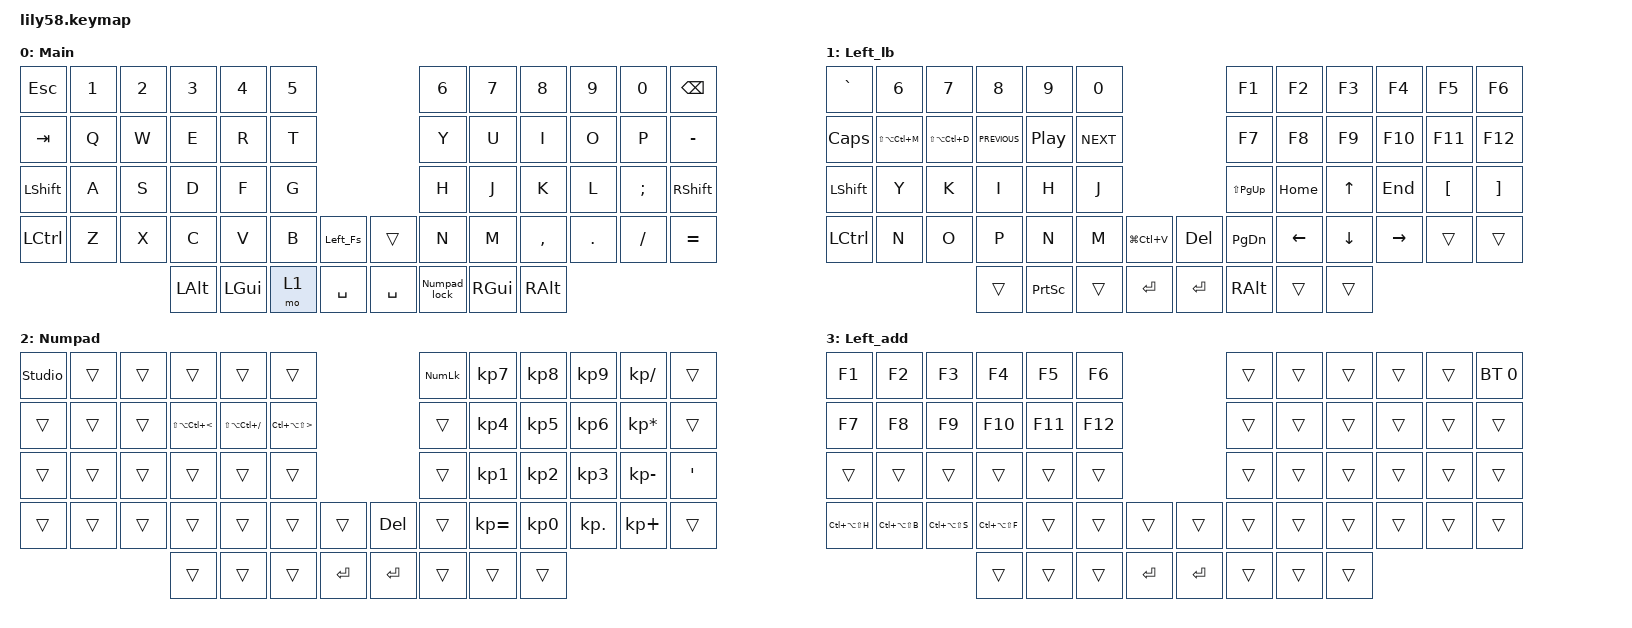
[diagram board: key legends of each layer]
/*
 * Copyright (c) 2020 The ZMK Contributors
 *
 * SPDX-License-Identifier: MIT
 */

#include <behaviors.dtsi>
#include <dt-bindings/zmk/bt.h>
#include <dt-bindings/zmk/keys.h>

/ {
    behaviors {
        Numpad_lock: Numpad_lock {
            compatible = "zmk,behavior-tap-dance";
            label = "NUMPAD_LOCK";
            #binding-cells = <0>;
            bindings = <&mo 2>, <&tog 2>;
        };

        Left_Fs: Left_Fs {
            compatible = "zmk,behavior-tap-dance";
            label = "LEFT_FS";
            #binding-cells = <0>;
            bindings = <&kp DEL>, <&tog 3>;
        };
    };

    combos {
        compatible = "zmk,combos";

        Left_br {
            bindings = <&kp LEFT_BRACKET>;
            key-positions = <21 22>;
            require-prior-idle-ms = <50>;
        };

        Right_br {
            bindings = <&kp RIGHT_BRACKET>;
            key-positions = <22 23>;
            require-prior-idle-ms = <50>;
        };

        Sqt {
            bindings = <&kp SQT>;
            key-positions = <33 34>;
            require-prior-idle-ms = <50>;
        };

        Grave {
            bindings = <&kp GRAVE>;
            key-positions = <17 16>;
            require-prior-idle-ms = <50>;
        };

        Slash {
            bindings = <&kp KP_DIVIDE>;
            key-positions = <48 49>;
            require-prior-idle-ms = <50>;
        };

        Backslash {
            bindings = <&kp BACKSLASH>;
            key-positions = <48 47>;
            require-prior-idle-ms = <50>;
        };
    };

    keymap {
        compatible = "zmk,keymap";

        Main {
            display-name = "Main";
            bindings = <
&kp ESC         &kp N1  &kp N2  &kp N3    &kp N4    &kp N5                          &kp N6        &kp N7    &kp N8     &kp N9   &kp N0    &kp BSPC
&kp TAB         &kp Q   &kp W   &kp E     &kp R     &kp T                           &kp Y         &kp U     &kp I      &kp O    &kp P     &kp MINUS
&kp LEFT_SHIFT  &kp A   &kp S   &kp D     &kp F     &kp G                           &kp H         &kp J     &kp K      &kp L    &kp SEMI  &kp RSHFT
&kp LCTRL       &kp Z   &kp X   &kp C     &kp V     &kp B   &Left_Fs     &trans     &kp N         &kp M     &kp COMMA  &kp DOT  &kp FSLH  &kp EQUAL
                                &kp LALT  &kp LGUI  &mo 1   &kp SPACE    &kp SPACE  &Numpad_lock  &kp RGUI  &kp RALT
            >;
        };

        Left_lb {
            display-name = "Left_lb";
            bindings = <
&kp GRAVE  &kp NUMBER_6       &kp NUMBER_7       &kp NUMBER_8    &kp NUMBER_9      &kp NUMBER_0                               &kp F1           &kp F2          &kp F3          &kp F4           &kp F5    &kp F6
&kp CAPS   &kp LS(LA(LC(M)))  &kp LS(LA(LC(D)))  &kp C_PREVIOUS  &kp C_PLAY_PAUSE  &kp C_NEXT                                 &kp F7           &kp F8          &kp F9          &kp F10          &kp F11   &kp F12
&kp LSHFT  &kp Y              &kp K              &kp I           &kp H             &kp J                                      &kp LS(PAGE_UP)  &kp HOME        &kp UP_ARROW    &kp END          &kp LBKT  &kp RBKT
&kp LCTRL  &kp N              &kp O              &kp P           &kp N             &kp M         &kp LG(LC(V))    &kp DELETE  &kp PAGE_DOWN    &kp LEFT_ARROW  &kp DOWN_ARROW  &kp RIGHT_ARROW  &trans    &trans
                                                 &trans          &kp PRINTSCREEN   &trans        &kp RET          &kp ENTER   &kp RIGHT_ALT    &trans          &trans
            >;
        };

        Numpad {
            display-name = "Numpad";
            bindings = <
&studio_unlock  &trans  &trans  &trans                     &trans                 &trans                                                 &kp KP_NUMLOCK  &kp KP_NUMBER_7  &kp KP_NUMBER_8  &kp KP_NUMBER_9  &kp KP_DIVIDE    &trans
&trans          &trans  &trans  &kp LS(LA(LC(LESS_THAN)))  &kp LS(LA(LC(SLASH)))  &kp LC(LA(LS(GREATER_THAN)))                           &trans          &kp KP_NUMBER_4  &kp KP_NUMBER_5  &kp KP_NUMBER_6  &kp KP_MULTIPLY  &trans
&trans          &trans  &trans  &trans                     &trans                 &trans                                                 &trans          &kp KP_NUMBER_1  &kp KP_NUMBER_2  &kp KP_NUMBER_3  &kp KP_SUBTRACT  &kp SINGLE_QUOTE
&trans          &trans  &trans  &trans                     &trans                 &trans                        &trans       &kp DELETE  &trans          &kp KP_EQUAL     &kp KP_NUMBER_0  &kp KP_DOT       &kp KP_PLUS      &trans
                                &trans                     &trans                 &trans                        &kp ENTER    &kp RET     &trans          &trans           &trans
            >;
        };

        Left_add {
            display-name = "Left_add";
            bindings = <
&kp F1             &kp F2             &kp F3             &kp F4             &kp F5   &kp F6                         &trans  &trans  &trans  &trans  &trans  &bt BT_SEL 0
&kp F7             &kp F8             &kp F9             &kp F10            &kp F11  &kp F12                        &trans  &trans  &trans  &trans  &trans  &trans
&trans             &trans             &trans             &trans             &trans   &trans                         &trans  &trans  &trans  &trans  &trans  &trans
&kp LC(LA(LS(H)))  &kp LC(LA(LS(B)))  &kp LC(LA(LS(S)))  &kp LC(LA(LS(F)))  &trans   &trans   &trans       &trans   &trans  &trans  &trans  &trans  &trans  &trans
                                                         &trans             &trans   &trans   &kp ENTER    &kp RET  &trans  &trans  &trans
            >;
        };

        reserved1 {
            status = "reserved";
            bindings = <
&trans  &trans  &trans  &trans  &trans  &trans                    &trans  &trans  &trans  &trans  &trans  &trans
&trans  &trans  &trans  &trans  &trans  &trans                    &trans  &trans  &trans  &trans  &trans  &trans
&trans  &trans  &trans  &trans  &trans  &trans                    &trans  &trans  &trans  &trans  &trans  &trans
&trans  &trans  &trans  &trans  &trans  &trans  &trans    &trans  &trans  &trans  &trans  &trans  &trans  &trans
                        &trans  &trans  &trans  &trans    &trans  &trans  &trans  &trans
            >;
        };

        reserved2 {
            status = "reserved";
            bindings = <
&trans  &trans  &trans  &trans  &trans  &trans                    &trans  &trans  &trans  &trans  &trans  &trans
&trans  &trans  &trans  &trans  &trans  &trans                    &trans  &trans  &trans  &trans  &trans  &trans
&trans  &trans  &trans  &trans  &trans  &trans                    &trans  &trans  &trans  &trans  &trans  &trans
&trans  &trans  &trans  &trans  &trans  &trans  &trans    &trans  &trans  &trans  &trans  &trans  &trans  &trans
                        &trans  &trans  &trans  &trans    &trans  &trans  &trans  &trans
            >;
        };

        reserved3 {
            status = "reserved";
            bindings = <
&trans  &trans  &trans  &trans  &trans  &trans                    &trans  &trans  &trans  &trans  &trans  &trans
&trans  &trans  &trans  &trans  &trans  &trans                    &trans  &trans  &trans  &trans  &trans  &trans
&trans  &trans  &trans  &trans  &trans  &trans                    &trans  &trans  &trans  &trans  &trans  &trans
&trans  &trans  &trans  &trans  &trans  &trans  &trans    &trans  &trans  &trans  &trans  &trans  &trans  &trans
                        &trans  &trans  &trans  &trans    &trans  &trans  &trans  &trans
            >;
        };
    };
};
